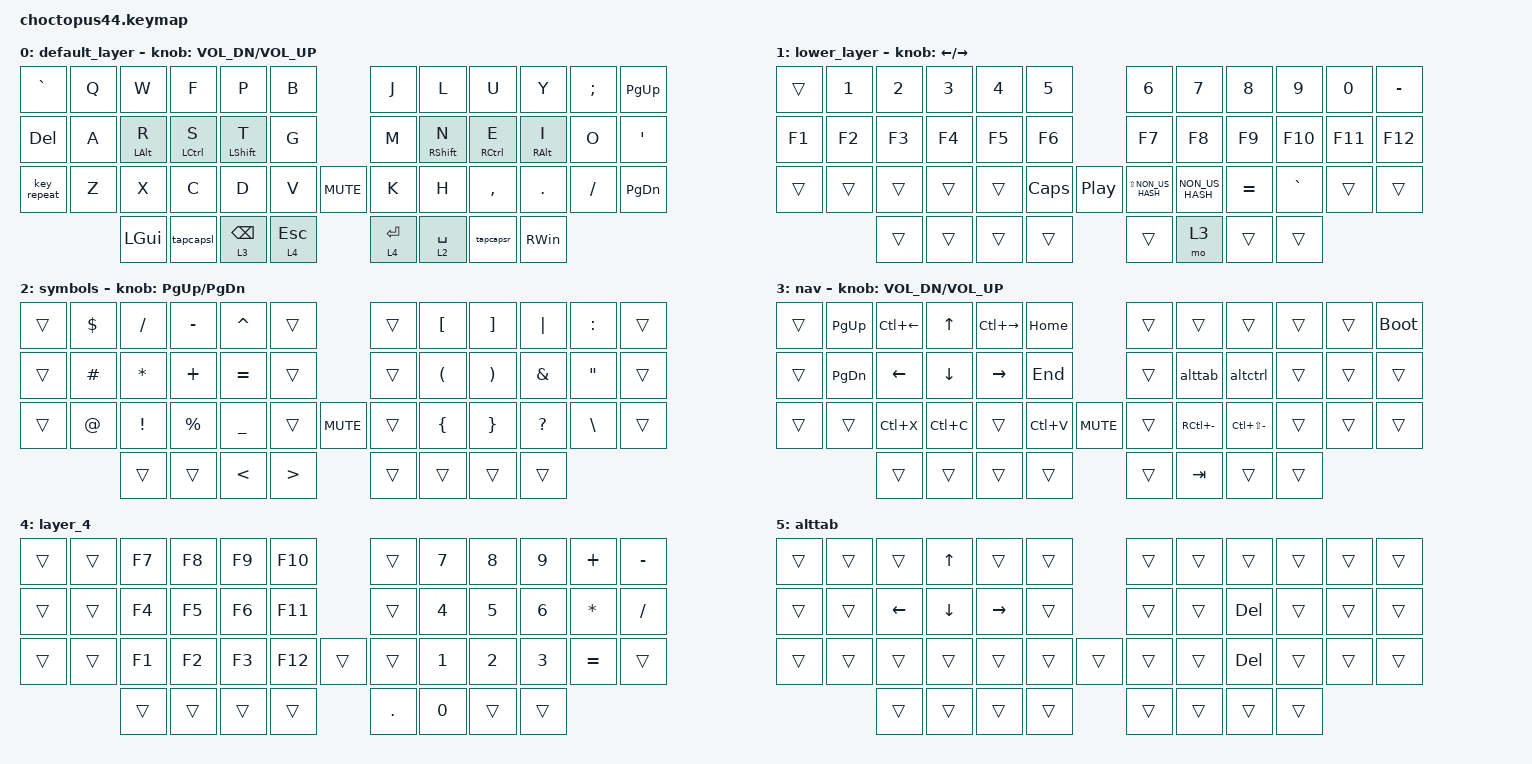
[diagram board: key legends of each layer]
/*
 * Copyright (c) 2021 The ZMK Contributors
 *
 * SPDX-License-Identifier: MIT
 */

#include <behaviors.dtsi>
#include <dt-bindings/zmk/keys.h>

&mt { tapping-term-ms = <400>; };

/ {
    behaviors {
        hml: hml {
            compatible = "zmk,behavior-hold-tap";
            label = "HML";
            bindings = <&kp>, <&kp>;

            #binding-cells = <2>;
            tapping-term-ms = <500>;
            quick-tap-ms = <175>;
            require-prior-idle-ms = <200>;
            flavor = "balanced";
            hold-trigger-key-positions = <41 42 44 43 31 32 33 35 34 36 23 22 21 19 18 6 7 20 8 9 10 11>;
            hold-trigger-on-release;
        };

        hmr: hmr {
            compatible = "zmk,behavior-hold-tap";
            label = "HMR";
            bindings = <&kp>, <&kp>;

            #binding-cells = <2>;
            tapping-term-ms = <500>;
            quick-tap-ms = <175>;
            require-prior-idle-ms = <200>;
            flavor = "balanced";
            hold-trigger-on-release;
            hold-trigger-key-positions = <40 39 38 37 0 1 2 3 4 5 12 13 14 15 16 17 24 25 26 27 28 29>;
        };

        thumbmod: thumbmod {
            compatible = "zmk,behavior-hold-tap";
            label = "THUMBMOD";
            bindings = <&mo>, <&kp>;

            #binding-cells = <2>;
            tapping-term-ms = <250>;
            quick-tap-ms = <175>;
            require-prior-idle-ms = <150>;
            flavor = "balanced";
        };

        skq: skq {
            compatible = "zmk,behavior-sticky-key";
            label = "SKQ";
            bindings = <&kp>;
            #binding-cells = <1>;
            release-after-ms = <1000>;
            quick-release;
            ignore-modifiers;
        };

        tapcapsl: tapcapsl {
            compatible = "zmk,behavior-tap-dance";
            label = "TAPCAPSL";
            #binding-cells = <0>;
            bindings = <&skq LSHFT>, <&caps_word>;

            tapping-term-ms = <400>;
        };

        tapcapsr: tapcapsr {
            compatible = "zmk,behavior-tap-dance";
            label = "TAPCAPSR";
            #binding-cells = <0>;
            bindings = <&skq RSHFT>, <&caps_word>;

            tapping-term-ms = <400>;
        };
    };

    macros {
        altctrl: altctrl {
            compatible = "zmk,behavior-macro";
            #binding-cells = <0>;
            bindings =
                <&macro_press>,
                <&kp LCTRL &mo 5>,
                <&macro_tap>,
                <&kp TAB>,
                <&macro_pause_for_release>,
                <&macro_release>,
                <&kp LCTRL &mo 5>;

            label = "ALTCTRL";
            wait-ms = <15>;
            tap-ms = <30>;
        };

        alttab: alttab {
            compatible = "zmk,behavior-macro";
            #binding-cells = <0>;
            bindings =
                <&macro_press>,
                <&kp LALT &mo 5>,
                <&macro_tap>,
                <&kp TAB>,
                <&macro_pause_for_release>,
                <&macro_release>,
                <&kp LEFT_ALT &mo 5>;

            label = "ALTTAB";
            wait-ms = <15>;
            tap-ms = <30>;
        };
    };

    keymap {
        compatible = "zmk,keymap";

        default_layer {
            bindings = <
&kp GRAVE    &kp Q  &kp W         &kp F         &kp P                  &kp B                        &kp J              &kp L              &kp U         &kp Y             &kp SEMICOLON  &kp PG_UP
&kp DELETE   &kp A  &hml LALT R   &hml LCTRL S  &hml LSHFT T           &kp G                        &kp M              &hmr RSHFT N       &hmr RCTRL E  &hmr RIGHT_ALT I  &kp O          &kp SINGLE_QUOTE
&key_repeat  &kp Z  &kp X         &kp C         &kp D                  &kp V            &kp C_MUTE  &kp K              &kp H              &kp COMMA     &kp DOT           &kp FSLH       &kp PAGE_DOWN
                    &kp LEFT_GUI  &tapcapsl     &thumbmod 3 BACKSPACE  &thumbmod 4 ESC              &thumbmod 4 ENTER  &thumbmod 2 SPACE  &tapcapsr     &kp RWIN
            >;

            sensor-bindings = <&inc_dec_kp C_VOL_DN C_VOL_UP>;
        };

        lower_layer {
            bindings = <
&trans  &kp N1  &kp N2  &kp N3  &kp N4  &kp N5                      &kp N6               &kp N7           &kp N8     &kp N9     &kp N0   &kp MINUS
&kp F1  &kp F2  &kp F3  &kp F4  &kp F5  &kp F6                      &kp F7               &kp F8           &kp F9     &kp F10    &kp F11  &kp F12
&trans  &trans  &trans  &trans  &trans  &kp CAPS  &kp C_PLAY_PAUSE  &kp LS(NON_US_HASH)  &kp NON_US_HASH  &kp EQUAL  &kp GRAVE  &trans   &trans
                &trans  &trans  &trans  &trans                      &trans               &mo 3            &trans     &trans
            >;

            sensor-bindings = <&inc_dec_kp LEFT RIGHT>;
        };

        symbols {
            bindings = <
&trans  &kp DOLLAR   &kp SLASH        &kp MINUS    &kp CARET       &trans                        &trans  &kp LEFT_BRACKET      &kp RIGHT_BRACKET      &kp PIPE       &kp COLON          &trans
&trans  &kp HASH     &kp ASTERISK     &kp PLUS     &kp EQUAL       &trans                        &trans  &kp LEFT_PARENTHESIS  &kp RIGHT_PARENTHESIS  &kp AMPERSAND  &kp DOUBLE_QUOTES  &trans
&trans  &kp AT_SIGN  &kp EXCLAMATION  &kp PERCENT  &kp UNDERSCORE  &trans            &kp C_MUTE  &trans  &kp LEFT_BRACE        &kp RIGHT_BRACE        &kp QUESTION   &kp BACKSLASH      &trans
                     &trans           &trans       &kp LESS_THAN   &kp GREATER_THAN              &trans  &trans                &trans                 &trans
            >;

            sensor-bindings = <&inc_dec_kp PG_UP PG_DN>;
        };

        nav {
            bindings = <
&trans  &kp PAGE_UP    &kp LC(LEFT)    &kp UP_ARROW  &kp LC(RIGHT)    &kp HOME               &trans  &trans         &trans             &trans  &trans  &bootloader
&trans  &kp PAGE_DOWN  &kp LEFT_ARROW  &kp DOWN      &kp RIGHT_ARROW  &kp END                &trans  &alttab        &altctrl           &trans  &trans  &trans
&trans  &trans         &kp LC(X)       &kp LC(C)     &trans           &kp LC(V)  &kp C_MUTE  &trans  &kp RC(MINUS)  &kp LC(LS(MINUS))  &trans  &trans  &trans
                       &trans          &trans        &trans           &trans                 &trans  &kp TAB        &trans             &trans
            >;

            sensor-bindings = <&inc_dec_kp C_VOL_DN C_VOL_UP>;
        };

        layer_4 {
            bindings = <
&trans  &trans  &kp F7  &kp F8  &kp F9  &kp F10          &trans      &kp N7        &kp N8        &kp N9        &kp PLUS      &kp MINUS
&trans  &trans  &kp F4  &kp F5  &kp F6  &kp F11          &trans      &kp NUMBER_4  &kp N5        &kp NUMBER_6  &kp ASTERISK  &kp SLASH
&trans  &trans  &kp F1  &kp F2  &kp F3  &kp F12  &trans  &trans      &kp NUMBER_1  &kp NUMBER_2  &kp NUMBER_3  &kp EQUAL     &trans
                &trans  &trans  &trans  &trans           &kp PERIOD  &kp N0        &trans        &trans
            >;
        };

        alttab {
            bindings = <
&trans  &trans  &trans    &kp UP_ARROW    &trans     &trans          &trans  &trans  &trans      &trans  &trans  &trans
&trans  &trans  &kp LEFT  &kp DOWN_ARROW  &kp RIGHT  &trans          &trans  &trans  &kp DELETE  &trans  &trans  &trans
&trans  &trans  &trans    &trans          &trans     &trans  &trans  &trans  &trans  &kp DELETE  &trans  &trans  &trans
                &trans    &trans          &trans     &trans          &trans  &trans  &trans      &trans
            >;
        };
    };
};
